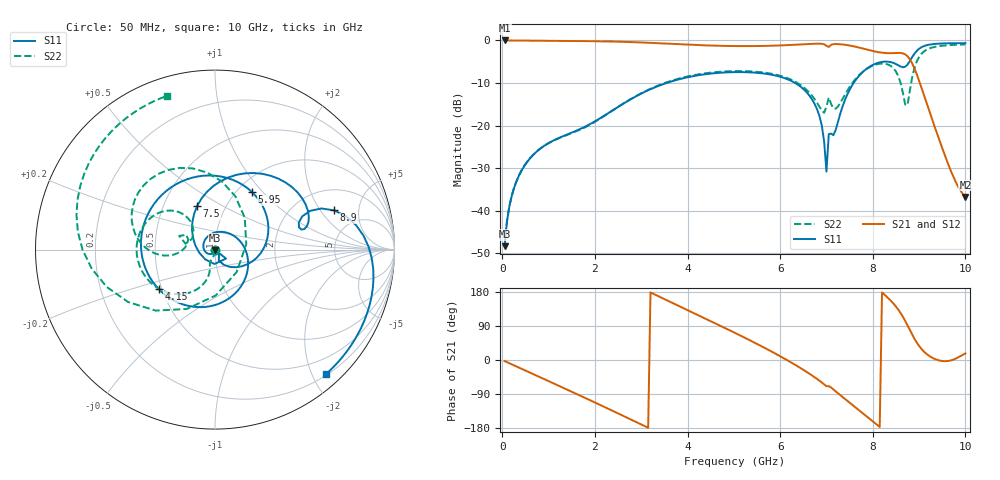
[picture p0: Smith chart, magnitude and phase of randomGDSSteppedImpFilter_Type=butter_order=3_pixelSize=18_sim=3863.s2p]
! freq	dB(S11)	phase(S11)	dB(S12)	phase(S12)
!  dB(S21)	phase(S21)	dB(S22)	phase(S22)
!S-par simulation data
#  GHz  S  DB  R 50
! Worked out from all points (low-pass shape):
!   200 points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, 50 MHz to 10 GHz, reference 50 ohm
!   highest |S21| = -0.01 dB at 50 MHz (marker M1); lowest = -36.8 dB at 10 GHz (marker M2)
!   |S21| within 3 dB of the highest: start of sweep to 8.629 GHz
!   lowest |S11| = -48.3 dB at 50 MHz (marker M3), VSWR 1.01, Z = 50 - j0.383 ohm
!   |S11| at or under -10 dB: start of sweep to 3.546 GHz; 6.324 GHz to 7.587 GHz (1.263 GHz wide, 18.2 % of centre)
!   |S22| runs from -48.3 to -0.9 dB; largest |S21 - S12| = 0
!   S11 on the Smith chart (normalised r, x): 50 MHz: 1.00, -0.01; 4.15 GHz: 0.48, -0.25; 5.95 GHz: 1.17, +0.87; 7.5 GHz: 0.73, +0.38; 8.9 GHz: 3.18, +2.72; 10 GHz: 0.22, -2.22
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0.05  -48.34 -88.7  -0.01 -2.8  -0.01 -2.8  -48.28 -85.2
0.2  -36.71 -106.3  -0.02 -11.2  -0.02 -11.2  -36.62 -93.6
0.5  -29.11 -134.5  -0.04 -27.9  -0.04 -27.9  -29.04 -101.9
1.75  -20.47 90.5  -0.15 -97.9  -0.15 -97.9  -20.61 -107.7
2.65  -14.61 -12.9  -0.34 -149.6  -0.34 -149.6  -14.58 -106.9
3.4  -10.57 -82.1  -0.67 166.6  -0.67 166.6  -10.43 -124.9
4.15  -8.33 -145.1  -1.06 123.1  -1.06 123.1  -8.13 -148.9
5.05  -7.44 138.8  -1.33 70.1  -1.33 70.1  -7.20 -178.4
5.95  -8.38 57.1  -1.20 13.3  -1.20 13.3  -8.15 151.2
6.7  -14.06 -24.3  -0.80 -41.7  -0.80 -41.7  -13.16 130.8
6.9  -20.02 -59.4  -0.80 -59.4  -0.80 -59.4  -16.50 143.2
7  -30.81 -40.8  -1.26 -69.2  -1.26 -69.2  -15.53 168.7
7.05  -22.02 -39.1  -1.53 -69.1  -1.53 -69.1  -13.41 159.0
7.2  -21.00 -168.4  -0.84 -82.9  -0.84 -82.9  -16.03 168.6
7.5  -11.60 112.2  -1.19 -112.6  -1.19 -112.6  -10.94 -173.3
7.9  -6.40 63.0  -2.22 -151.8  -2.22 -151.8  -6.47 164.7
8.35  -5.02 22.8  -3.00 161.4  -3.00 161.4  -5.76 120.6
8.55  -5.84 13.0  -2.93 133.1  -2.93 133.1  -8.38 84.1
8.7  -6.19 17.9  -3.28 103.2  -3.28 103.2  -15.05 9.9
8.9  -3.11 18.2  -6.57 56.2  -6.57 56.2  -6.49 -134.2
9.2  -1.03 -6.9  -15.92 12.4  -15.92 12.4  -1.99 166.0
10  -0.64 -48.2  -36.78 17.5  -36.78 17.5  -0.94 107.4
